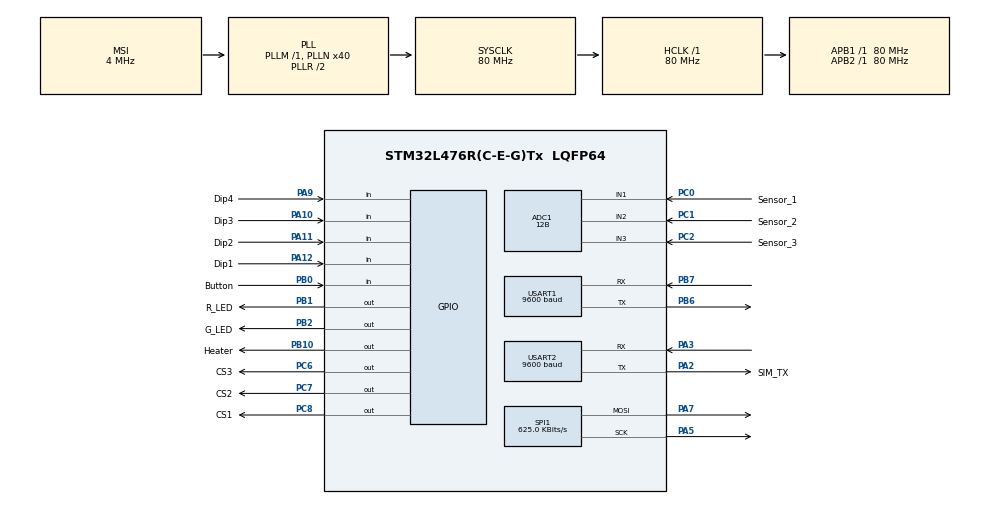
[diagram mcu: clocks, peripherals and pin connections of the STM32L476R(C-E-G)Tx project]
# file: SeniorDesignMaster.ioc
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Mcu.Family=STM32L4
RCC.CortexFreq_Value=80000000
SPI1.VirtualType=VM_MASTER
ADC1.Overrun=ADC_OVR_DATA_PRESERVED
ADC1.ContinuousConvMode=ENABLE
USART1.BaudRate=9600
SH.ADCx_IN2.0=ADC1_IN2,IN2-Single-Ended
PC0.GPIO_Label=Sensor_1
PC6.GPIO_Label=CS3
PB0.GPIO_Label=Button
RCC.SYSCLKSource=RCC_SYSCLKSOURCE_PLLCLK
ProjectManager.StackSize=0x400
PA12.Signal=GPIO_Input
SPI1.CLKPolarity=SPI_POLARITY_LOW
SPI1.Direction=SPI_DIRECTION_2LINES
RCC.HCLKFreq_Value=80000000
SH.ADCx_IN3.0=ADC1_IN3,IN3-Single-Ended
ADC1.Resolution=ADC_RESOLUTION_12B
RCC.APB2TimFreq_Value=80000000
PB6.Signal=USART1_TX
Dma.ADC1.0.Direction=DMA_PERIPH_TO_MEMORY
ADC1.Channel-2\#ChannelRegularConversion=ADC_CHANNEL_3
PC7.Signal=GPIO_Output
PB6.Mode=Asynchronous
SPI1.CalculateBaudRate=625.0 KBits/s
Dma.ADC1.0.MemDataAlignment=DMA_MDATAALIGN_WORD
RCC.AHBFreq_Value=80000000
ADC1.Channel-0\#ChannelRegularConversion=ADC_CHANNEL_1
RCC.HSE_VALUE=8000000
PB2.Signal=GPIO_Output
USART2.VirtualMode-Asynchronous=VM_ASYNC
ADC1.Rank-2\#ChannelRegularConversion=3
Dma.ADC1.0.PeriphInc=DMA_PINC_DISABLE
PB1.GPIO_Label=R_LED
SPI1.DataSize=SPI_DATASIZE_16BIT
PA10.GPIO_Label=Dip3
PB7.Signal=USART1_RX
SPI1.FirstBit=SPI_FIRSTBIT_MSB
ADC1.SamplingTime-0\#ChannelRegularConversion=ADC_SAMPLETIME_2CYCLES_5
Mcu.Package=LQFP64
PB1.Signal=GPIO_Output
PA2.GPIO_Label=SIM_TX
PA10.Signal=GPIO_Input
ADC1.OffsetNumber-1\#ChannelRegularConversion=ADC_OFFSET_NONE
SH.ADCx_IN1.0=ADC1_IN1,IN1-Single-Ended
RCC.APB1TimFreq_Value=80000000
Dma.Request0=ADC1
SPI1.BaudRatePrescaler=SPI_BAUDRATEPRESCALER_128
ADC1.EOCSelection=ADC_EOC_SINGLE_CONV
PC2.GPIO_Label=Sensor_3
RCC.PLLSAI1N=16
PA3.Signal=USART2_RX
PA5.Mode=TX_Only_Simplex_Unidirect_Master
RCC.MSI_VALUE=4000000
Dma.ADC1.0.Instance=DMA1_Channel1
ADC1.Rank-0\#ChannelRegularConversion=1
PA7.Mode=TX_Only_Simplex_Unidirect_Master
ADC1.OffsetNumber-0\#ChannelRegularConversion=ADC_OFFSET_NONE
PA9.GPIO_Label=Dip4
PC8.Signal=GPIO_Output
PC2.Signal=ADCx_IN3
PC6.Signal=GPIO_Output
PA11.GPIO_Label=Dip2
SPI1.CLKPhase=SPI_PHASE_1EDGE
PC0.Signal=ADCx_IN1
USART2.BaudRate=9600
PA12.GPIO_Label=Dip1
ADC1.SamplingTime-2\#ChannelRegularConversion=ADC_SAMPLETIME_2CYCLES_5
PC8.GPIO_Label=CS1
USART1.VirtualMode-Asynchronous=VM_ASYNC
PA3.Mode=Asynchronous
Dma.ADC1.0.PeriphDataAlignment=DMA_PDATAALIGN_WORD
ProjectManager.TargetToolchain=STM32CubeIDE
PB10.GPIO_Label=Heater
Dma.ADC1.0.Mode=DMA_CIRCULAR
Dma.ADC1.0.Priority=DMA_PRIORITY_MEDIUM
PA9.Signal=GPIO_Input
ADC1.Channel-1\#ChannelRegularConversion=ADC_CHANNEL_2
RCC.USBFreq_Value=32000000
RCC.LSE_VALUE=32768
PB10.Signal=GPIO_Output
PA5.Signal=SPI1_SCK
board=custom
RCC.VCOOutputFreq_Value=160000000
NVIC.SPI1_IRQn=true\:0\:0\:false\:false\:true\:true\:true
RCC.APB2Freq_Value=80000000
SPI1.Mode=SPI_MODE_MASTER
RCC.ADCFreq_Value=32000000
PC1.GPIO_Label=Sensor_2
ADC1.DMAContinuousRequests=ENABLE
ADC1.NbrOfConversion=3
ADC1.OffsetNumber-2\#ChannelRegularConversion=ADC_OFFSET_NONE
Mcu.Name=STM32L476R(C-E-G)Tx
SPI1.NSSPMode=SPI_NSS_PULSE_DISABLE
PA2.Signal=USART2_TX
PC7.GPIO_Label=CS2
ADC1.SamplingTime-1\#ChannelRegularConversion=ADC_SAMPLETIME_2CYCLES_5
RCC.SYSCLKFreq_VALUE=80000000
ADC1.master=1
ADC1.Rank-1\#ChannelRegularConversion=2
PB7.Mode=Asynchronous
PA11.Signal=GPIO_Input
Dma.ADC1.0.MemInc=DMA_MINC_ENABLE
PB2.GPIO_Label=G_LED
ProjectManager.HeapSize=0x200
RCC.HSI_VALUE=16000000
NVIC.PriorityGroup=NVIC_PRIORITYGROUP_4
ADC1.NbrOfConversionFlag=1
RCC.PLLN=40
PA2.Mode=Asynchronous
RCC.USART2CLockSelection=RCC_USART2CLKSOURCE_SYSCLK
NVIC.DMA1_Channel1_IRQn=true\:0\:0\:false\:false\:true\:false\:true
RCC.APB1Freq_Value=80000000
PB0.Signal=GPIO_Input
ADC1.ClockPrescaler=ADC_CLOCK_ASYNC_DIV2
PC1.Signal=ADCx_IN2
PA7.Signal=SPI1_MOSI

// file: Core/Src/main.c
/* USER CODE BEGIN Header */
/**
  ******************************************************************************
  * @file           : main.c
  * @brief          : Main program body
  ******************************************************************************
  * @attention
  *
  * <h2><center>&copy; Copyright (c) 2021 STMicroelectronics.
  * All rights reserved.</center></h2>
  *
  * This software component is licensed by ST under BSD 3-Clause license,
  * the "License"; You may not use this file except in compliance with the
  * License. You may obtain a copy of the License at:
  *                        opensource.org/licenses/BSD-3-Clause
  *
  ******************************************************************************
  */
/* USER CODE END Header */
#include "main.h"

/* USER CODE BEGIN Includes */

#include <string.h>
#include <stdio.h>
#include <stdbool.h> // I ADDED THINGS HERE !!!!!!!!
#include <stdlib.h>
#include <time.h>

/* USER CODE END Includes */

/* USER CODE BEGIN PD */
#define ADC_BUF_LEN 6
/* USER CODE END PD */

ADC_HandleTypeDef hadc1;
DMA_HandleTypeDef hdma_adc1;

SPI_HandleTypeDef hspi1;

UART_HandleTypeDef huart1;
UART_HandleTypeDef huart2;

void SystemClock_Config(void);
static void MX_GPIO_Init(void);
static void MX_DMA_Init(void);
static void MX_USART2_UART_Init(void);
static void MX_SPI1_Init(void);
static void MX_ADC1_Init(void);
static void MX_USART1_UART_Init(void);
/* USER CODE BEGIN PFP */
void displayResults(int ADC_number, int i, int val);
void digitalPotWrite(int value);
int targetCheck(int val, int target, int i);
void DMATransferComplete(DMA_HandleTypeDef *hdma);
void HAL_ADC_ConvCpltCallback(ADC_HandleTypeDef *hadc);
void HAL_ADC_ConvHalfCpltCallback(ADC_HandleTypeDef* hadc);

/* USER CODE END PFP */

/* USER CODE BEGIN 0 */
int adc_buf[ADC_BUF_LEN], adc[6];

void HAL_ADC_ConvCpltCallback(ADC_HandleTypeDef *hadc)
{
	for (int i = 0; i<6; i++)
		{
			adc[i] = adc_buf[i];
		}
}

/* USER CODE END 0 */

int main(void)
{
  /* USER CODE BEGIN 1 */
	char uart_buf[128] = {'\0'};	//buffer for output data
	int uart_buf_len = {'\0'};

  /* USER CODE END 1 */

  /* MCU Configuration--------------------------------------------------------*/

  /* Reset of all peripherals, Initializes the Flash interface and the Systick. */
  HAL_Init();

  /* USER CODE BEGIN Init */
	int target = 1024; //target analog bit value from the ADC
	uint8_t spiData[6];
	for(int j = 0; j < 6; j++){spiData[j] = 0x00;}
	int SPI_Transmit_Data_1;
	int SPI_Transmit_Data_2;
	int SPI_Transmit_Data_3;
	//char deviceID[20] = "Unit One";
	char readingType[20] = "Ambient";
	int readingNumber = 0;
	int deviceID_Number = 1;

	int output = 0;
	int power = 1;

	int dip[4];

	int warmtime = 0;

  //unsigned long lastMillis = 0; // I ADDED THINGS HERE !!!!!!!!
  //int long sensor1ValuesA[21]; // I ADDED THINGS HERE !!!!!!!!
  //int long sensor2ValuesA[21]; // I ADDED THINGS HERE !!!!!!!!
  //int long sensor3ValuesA[21]; // I ADDED THINGS HERE !!!!!!!!
  //int long sensor1ValuesB[21]; // I ADDED THINGS HERE !!!!!!!!
  //int long sensor2ValuesB[21]; // I ADDED THINGS HERE !!!!!!!!
  //int long sensor3ValuesB[21]; // I ADDED THINGS HERE !!!!!!!!

  //char *valuePayload; // I ADDED THINGS HERE !!!!!!!!
  //char str[80]; // how long does MQTT need to be?
  //time_t t;

  /* USER CODE END Init */

  /* Configure the system clock */
  SystemClock_Config();

  /* Initialize all configured peripherals */
  MX_GPIO_Init();
  MX_DMA_Init();
  MX_USART2_UART_Init();
  MX_SPI1_Init();
  MX_ADC1_Init();
  MX_USART1_UART_Init();
  /* USER CODE BEGIN 2 */
  HAL_GPIO_WritePin(GPIOC, GPIO_PIN_8, GPIO_PIN_SET);	//set CS1 pin HIGH.
  HAL_GPIO_WritePin(GPIOC, GPIO_PIN_7, GPIO_PIN_SET);	//set CS2 pin HIGH.
  HAL_GPIO_WritePin(GPIOC, GPIO_PIN_6, GPIO_PIN_SET);	//set CS3 pin HIGH.

  HAL_ADC_Start_DMA(&hadc1, (uint32_t*)adc_buf, ADC_BUF_LEN);
  /* USER CODE END 2 */

  /* Infinite loop */
  /* USER CODE BEGIN WHILE */

  while (1){

	  while(!HAL_GPIO_ReadPin(GPIOB, GPIO_PIN_0)){
		  //stuck here until button press
	  }
	  HAL_GPIO_WritePin(GPIOB, GPIO_PIN_10, GPIO_PIN_RESET); // mosfet pin low (stops current flow to heater pins)

	  output = 0;
	  power = 1;

	  dip[0] = HAL_GPIO_ReadPin(GPIOA, GPIO_PIN_12);
	  dip[1] = HAL_GPIO_ReadPin(GPIOA, GPIO_PIN_11);
	  dip[2] = HAL_GPIO_ReadPin(GPIOA, GPIO_PIN_10);
	  dip[3] = HAL_GPIO_ReadPin(GPIOA, GPIO_PIN_9);

		for (int i=0; i<=3; i++){
			output += dip[3-i]*power;
			power *= 2;
		}

	  warmtime = output*100;

	  //define sensor warming time
	  #define SENS_WARMING_TIME warmtime //anywhere from 0 to 16 minutes in 30 second intervals

	  uart_buf_len =sprintf(uart_buf, "Warm time set to: %d\n\r", warmtime);	  		//load print buffer with message
	  HAL_UART_Transmit(&huart1, (uint8_t *)uart_buf, uart_buf_len, 100);	//print to terminal

	  	//Fast blinking - Blinking red light 4 times per second for 3 seconds indicating begining of sensor warmup
		for (int i = 0; i < 12; i++) { // I ADDED THINGS HERE !!!!!!!!
		  HAL_GPIO_WritePin(GPIOB, GPIO_PIN_1, GPIO_PIN_SET); // I ADDED THINGS HERE !!!!!!!!
		  HAL_Delay(125); // I ADDED THINGS HERE !!!!!!!!
		  HAL_GPIO_WritePin(GPIOB, GPIO_PIN_1, GPIO_PIN_RESET); // I ADDED THINGS HERE !!!!!!!!
		  HAL_Delay(125); // I ADDED THINGS HERE !!!!!!!!
		}

		//code to power up sensors here
		HAL_GPIO_WritePin(GPIOB, GPIO_PIN_10, GPIO_PIN_SET); // I ADDED THINGS HERE !!!!!!!!

		//if (SENS_WARMING_TIME == 0) {
		//	SENS_WARMING_TIME = 60;
		//}

		//Fast blinking - Blinking red light 1 times per second for 5 minute/s indicating sensor warming up
		 for (int i = 0; i < SENS_WARMING_TIME; i++) {
			 HAL_GPIO_WritePin(GPIOB, GPIO_PIN_1, GPIO_PIN_SET); // I ADDED THINGS HERE !!!!!!!!
			 HAL_Delay(125); // I ADDED THINGS HERE !!!!!!!!
			 HAL_GPIO_WritePin(GPIOB, GPIO_PIN_1, GPIO_PIN_RESET); // I ADDED THINGS HERE !!!!!!!!
			 HAL_Delay(875); // I ADDED THINGS HERE !!!!!!!!
		 }

		 //Fast Blinking (four times a second) Yellow for 5 sec warnning begining of data collection via MQTT
		   for (int i = 0; i < 20; i++) {
			   HAL_GPIO_WritePin(GPIOB, GPIO_PIN_1, GPIO_PIN_SET); // I ADDED THINGS HERE !!!!!!!!
			   HAL_GPIO_WritePin(GPIOB, GPIO_PIN_2, GPIO_PIN_SET); // I ADDED THINGS HERE !!!!!!!!
			   HAL_Delay(125); // I ADDED THINGS HERE !!!!!!!!
			   HAL_GPIO_WritePin(GPIOB, GPIO_PIN_1, GPIO_PIN_RESET); // I ADDED THINGS HERE !!!!!!!!
			   HAL_GPIO_WritePin(GPIOB, GPIO_PIN_2, GPIO_PIN_RESET); // I ADDED THINGS HERE !!!!!!!!
			   HAL_Delay(125); // I ADDED THINGS HERE !!!!!!!!
		   }

	  for(int measurement = 0; measurement < 10; measurement++){

		  //------------------------------Read SPI Data------------------------------//

		  spiData[0] = targetCheck(adc[0], target, spiData[0]);
		  spiData[1] = targetCheck(adc[1], target, spiData[1]);
		  spiData[2] = targetCheck(adc[2], target, spiData[2]);
		  SPI_Transmit_Data_1 = 0x00 | spiData[0];
		  SPI_Transmit_Data_2 = 0x00 | spiData[1];
		  SPI_Transmit_Data_3 = 0x00 | spiData[2];

		  //------------------------------Transmit SPI Data to 3 Digital Potentiometers------------------------------//

		  HAL_GPIO_WritePin(GPIOC, GPIO_PIN_8, GPIO_PIN_RESET);				//set CS1 pin LOW.
		  HAL_SPI_Transmit(&hspi1, (uint8_t *)&SPI_Transmit_Data_1, 1, 10); //handle SPI, Cast data to a 16 bit unsigned integer, 1 bytes of data, 10 ms delay
		  while(HAL_SPI_GetState(&hspi1) != HAL_SPI_STATE_READY);
		  HAL_GPIO_WritePin(GPIOC, GPIO_PIN_8, GPIO_PIN_SET);				//set CS1 pin HIGH.
		  HAL_Delay(200);

		  HAL_GPIO_WritePin(GPIOC, GPIO_PIN_7, GPIO_PIN_RESET);				//set CS2 pin LOW.
		  HAL_SPI_Transmit(&hspi1, (uint8_t *)&SPI_Transmit_Data_2, 1, 10); //handle SPI, Cast data to a 16 bit unsigned integer, 1 bytes of data, 10 ms delay
		  while(HAL_SPI_GetState(&hspi1) != HAL_SPI_STATE_READY);
		  HAL_GPIO_WritePin(GPIOC, GPIO_PIN_7, GPIO_PIN_SET);				//set CS2 pin HIGH.

		  HAL_GPIO_WritePin(GPIOC, GPIO_PIN_6, GPIO_PIN_RESET);				//set CS3 pin LOW.
		  HAL_SPI_Transmit(&hspi1, (uint8_t *)&SPI_Transmit_Data_3, 1, 10); //handle SPI, Cast data to a 16 bit unsigned integer, 1 bytes of data, 10 ms delay
		  while(HAL_SPI_GetState(&hspi1) != HAL_SPI_STATE_READY);
		  HAL_GPIO_WritePin(GPIOC, GPIO_PIN_6, GPIO_PIN_SET);				//set CS3 pin HIGH.

		  //------------------------------Send USART Data to Particle Boron Board------------------------------//

		  uart_buf_len =sprintf(uart_buf, "Unit %d, %d, %d, %d, %s, %d\n", deviceID_Number, adc[0], adc[1], adc[2], readingType, readingNumber);	  		//load print buffer with message
		  HAL_UART_Transmit(&huart2, (uint8_t *)uart_buf, uart_buf_len, 100);	//print to terminal
		  readingNumber++;

		  //------------------------------Display Results to Terminal------------------------------//

		  uart_buf_len =sprintf(uart_buf, "Test #%d\r\n", measurement);	  		//load print buffer with message
		  HAL_UART_Transmit(&huart1, (uint8_t *)uart_buf, uart_buf_len, 100);	//print to terminal
		  //for(int i = 0; i < 3; i++){											//iterate through SPI array and print results to terminal
			//  displayResults(i+1, spiData[i], adc[i]);
		  //}
		  HAL_Delay(500);

	  }

	  //shows a red,yellow,green "get ready" sequence
	  HAL_GPIO_WritePin(GPIOB, GPIO_PIN_1, GPIO_PIN_SET); // I ADDED THINGS HERE !!!!!!!! Red LED on
	  HAL_Delay(1500);
	  HAL_GPIO_WritePin(GPIOB, GPIO_PIN_2, GPIO_PIN_SET); // I ADDED THINGS HERE !!!!!!!! Green LED on
	  HAL_Delay(1500);
	  HAL_GPIO_WritePin(GPIOB, GPIO_PIN_1, GPIO_PIN_RESET); // I ADDED THINGS HERE !!!!!!!! Red LED off
      //FOR USER: BREATHE INTO THE SENSOR

	  char readingType[20] = "Breath";
	  while(!HAL_GPIO_ReadPin(GPIOB, GPIO_PIN_0)){
	  		  //stuck here until button press
	  	  }
	  for(int measurement = 0; measurement < 10; measurement++){
		  uart_buf_len =sprintf(uart_buf, "Unit %d, %d, %d, %d, %s, %d\n", deviceID_Number, adc[0], adc[1], adc[2], readingType, readingNumber);	  		//load print buffer with message
		  HAL_UART_Transmit(&huart2, (uint8_t *)uart_buf, uart_buf_len, 100);	//print to terminal

		  uart_buf_len =sprintf(uart_buf, "Potentiometer 1 Value (0 - 128): %d \n\r", SPI_Transmit_Data_1);	  	//load print buffer with message
		  HAL_UART_Transmit(&huart1, (uint8_t *)uart_buf, uart_buf_len, 100);		//print to terminal
		  uart_buf_len =sprintf(uart_buf, "Potentiometer 2 Value (0 - 128): %d \n\r", SPI_Transmit_Data_2);	  	//load print buffer with message
		  HAL_UART_Transmit(&huart1, (uint8_t *)uart_buf, uart_buf_len, 100);		//print to terminal
		  uart_buf_len =sprintf(uart_buf, "Potentiometer 3 Value (0 - 128): %d \n\r", SPI_Transmit_Data_3);	  	//load print buffer with message
		  HAL_UART_Transmit(&huart1, (uint8_t *)uart_buf, uart_buf_len, 100);		//print to terminal

		  uart_buf_len =sprintf(uart_buf, "\n\rSent To Boron --> \"Unit %d, %d, %d, %d, %s, %d\"\r\n\n", deviceID_Number, adc[0], adc[1], adc[2], readingType, readingNumber);	  	//load print buffer with message
		  HAL_UART_Transmit(&huart1, (uint8_t *)uart_buf, uart_buf_len, 100);		//print to terminal
		  readingNumber++;
	  	  HAL_Delay(500);
	  }
	  readingNumber = 0;
	  deviceID_Number++;

	  HAL_GPIO_WritePin(GPIOB, GPIO_PIN_10, GPIO_PIN_RESET); // mosfet pin low (stops current flow to heater pins)
	  HAL_GPIO_WritePin(GPIOB, GPIO_PIN_2, GPIO_PIN_RESET); // Green LED off

	  HAL_Delay(500);
  }

    /* USER CODE END WHILE */

}

void SystemClock_Config(void)
{
  RCC_OscInitTypeDef RCC_OscInitStruct = {0};
  RCC_ClkInitTypeDef RCC_ClkInitStruct = {0};
  RCC_PeriphCLKInitTypeDef PeriphClkInit = {0};

  /** Initializes the RCC Oscillators according to the specified parameters
  * in the RCC_OscInitTypeDef structure.
  */
  RCC_OscInitStruct.OscillatorType = RCC_OSCILLATORTYPE_MSI;
  RCC_OscInitStruct.MSIState = RCC_MSI_ON;
  RCC_OscInitStruct.MSICalibrationValue = 0;
  RCC_OscInitStruct.MSIClockRange = RCC_MSIRANGE_6;
  RCC_OscInitStruct.PLL.PLLState = RCC_PLL_ON;
  RCC_OscInitStruct.PLL.PLLSource = RCC_PLLSOURCE_MSI;
  RCC_OscInitStruct.PLL.PLLM = 1;
  RCC_OscInitStruct.PLL.PLLN = 40;
  RCC_OscInitStruct.PLL.PLLP = RCC_PLLP_DIV7;
  RCC_OscInitStruct.PLL.PLLQ = RCC_PLLQ_DIV2;
  RCC_OscInitStruct.PLL.PLLR = RCC_PLLR_DIV2;
  if (HAL_RCC_OscConfig(&RCC_OscInitStruct) != HAL_OK)
  {
    Error_Handler();
  }
  /** Initializes the CPU, AHB and APB buses clocks
  */
  RCC_ClkInitStruct.ClockType = RCC_CLOCKTYPE_HCLK|RCC_CLOCKTYPE_SYSCLK
                              |RCC_CLOCKTYPE_PCLK1|RCC_CLOCKTYPE_PCLK2;
  RCC_ClkInitStruct.SYSCLKSource = RCC_SYSCLKSOURCE_PLLCLK;
  RCC_ClkInitStruct.AHBCLKDivider = RCC_SYSCLK_DIV1;
  RCC_ClkInitStruct.APB1CLKDivider = RCC_HCLK_DIV1;
  RCC_ClkInitStruct.APB2CLKDivider = RCC_HCLK_DIV1;

  if (HAL_RCC_ClockConfig(&RCC_ClkInitStruct, FLASH_LATENCY_4) != HAL_OK)
  {
    Error_Handler();
  }
  PeriphClkInit.PeriphClockSelection = RCC_PERIPHCLK_USART1|RCC_PERIPHCLK_USART2
                              |RCC_PERIPHCLK_ADC;
  PeriphClkInit.Usart1ClockSelection = RCC_USART1CLKSOURCE_PCLK2;
  PeriphClkInit.Usart2ClockSelection = RCC_USART2CLKSOURCE_SYSCLK;
  PeriphClkInit.AdcClockSelection = RCC_ADCCLKSOURCE_PLLSAI1;
  PeriphClkInit.PLLSAI1.PLLSAI1Source = RCC_PLLSOURCE_MSI;
  PeriphClkInit.PLLSAI1.PLLSAI1M = 1;
  PeriphClkInit.PLLSAI1.PLLSAI1N = 16;
  PeriphClkInit.PLLSAI1.PLLSAI1P = RCC_PLLP_DIV7;
  PeriphClkInit.PLLSAI1.PLLSAI1Q = RCC_PLLQ_DIV2;
  PeriphClkInit.PLLSAI1.PLLSAI1R = RCC_PLLR_DIV2;
  PeriphClkInit.PLLSAI1.PLLSAI1ClockOut = RCC_PLLSAI1_ADC1CLK;
  if (HAL_RCCEx_PeriphCLKConfig(&PeriphClkInit) != HAL_OK)
  {
    Error_Handler();
  }
  /** Configure the main internal regulator output voltage
  */
  if (HAL_PWREx_ControlVoltageScaling(PWR_REGULATOR_VOLTAGE_SCALE1) != HAL_OK)
  {
    Error_Handler();
  }
}

static void MX_ADC1_Init(void)
{

  ADC_MultiModeTypeDef multimode = {0};
  ADC_ChannelConfTypeDef sConfig = {0};

  /** Common config
  */
  hadc1.Instance = ADC1;
  hadc1.Init.ClockPrescaler = ADC_CLOCK_ASYNC_DIV2;
  hadc1.Init.Resolution = ADC_RESOLUTION_12B;
  hadc1.Init.DataAlign = ADC_DATAALIGN_RIGHT;
  hadc1.Init.ScanConvMode = ADC_SCAN_ENABLE;
  hadc1.Init.EOCSelection = ADC_EOC_SINGLE_CONV;
  hadc1.Init.LowPowerAutoWait = DISABLE;
  hadc1.Init.ContinuousConvMode = ENABLE;
  hadc1.Init.NbrOfConversion = 3;
  hadc1.Init.DiscontinuousConvMode = DISABLE;
  hadc1.Init.ExternalTrigConv = ADC_SOFTWARE_START;
  hadc1.Init.ExternalTrigConvEdge = ADC_EXTERNALTRIGCONVEDGE_NONE;
  hadc1.Init.DMAContinuousRequests = ENABLE;
  hadc1.Init.Overrun = ADC_OVR_DATA_PRESERVED;
  hadc1.Init.OversamplingMode = DISABLE;
  if (HAL_ADC_Init(&hadc1) != HAL_OK)
  {
    Error_Handler();
  }
  /** Configure the ADC multi-mode
  */
  multimode.Mode = ADC_MODE_INDEPENDENT;
  if (HAL_ADCEx_MultiModeConfigChannel(&hadc1, &multimode) != HAL_OK)
  {
    Error_Handler();
  }
  /** Configure Regular Channel
  */
  sConfig.Channel = ADC_CHANNEL_1;
  sConfig.Rank = ADC_REGULAR_RANK_1;
  sConfig.SamplingTime = ADC_SAMPLETIME_2CYCLES_5;
  sConfig.SingleDiff = ADC_SINGLE_ENDED;
  sConfig.OffsetNumber = ADC_OFFSET_NONE;
  sConfig.Offset = 0;
  if (HAL_ADC_ConfigChannel(&hadc1, &sConfig) != HAL_OK)
  {
    Error_Handler();
  }
  /** Configure Regular Channel
  */
  sConfig.Channel = ADC_CHANNEL_2;
  sConfig.Rank = ADC_REGULAR_RANK_2;
  if (HAL_ADC_ConfigChannel(&hadc1, &sConfig) != HAL_OK)
  {
    Error_Handler();
  }
  /** Configure Regular Channel
  */
  sConfig.Channel = ADC_CHANNEL_3;
  sConfig.Rank = ADC_REGULAR_RANK_3;
  if (HAL_ADC_ConfigChannel(&hadc1, &sConfig) != HAL_OK)
  {
    Error_Handler();
  }

}

static void MX_SPI1_Init(void)
{

  /* SPI1 parameter configuration*/
  hspi1.Instance = SPI1;
  hspi1.Init.Mode = SPI_MODE_MASTER;
  hspi1.Init.Direction = SPI_DIRECTION_2LINES;
  hspi1.Init.DataSize = SPI_DATASIZE_16BIT;
  hspi1.Init.CLKPolarity = SPI_POLARITY_LOW;
  hspi1.Init.CLKPhase = SPI_PHASE_1EDGE;
  hspi1.Init.NSS = SPI_NSS_SOFT;
  hspi1.Init.BaudRatePrescaler = SPI_BAUDRATEPRESCALER_128;
  hspi1.Init.FirstBit = SPI_FIRSTBIT_MSB;
  hspi1.Init.TIMode = SPI_TIMODE_DISABLE;
  hspi1.Init.CRCCalculation = SPI_CRCCALCULATION_DISABLE;
  hspi1.Init.CRCPolynomial = 7;
  hspi1.Init.CRCLength = SPI_CRC_LENGTH_DATASIZE;
  hspi1.Init.NSSPMode = SPI_NSS_PULSE_DISABLE;
  if (HAL_SPI_Init(&hspi1) != HAL_OK)
  {
    Error_Handler();
  }

}

static void MX_USART1_UART_Init(void)
{

  huart1.Instance = USART1;
  huart1.Init.BaudRate = 9600;
  huart1.Init.WordLength = UART_WORDLENGTH_8B;
  huart1.Init.StopBits = UART_STOPBITS_1;
  huart1.Init.Parity = UART_PARITY_NONE;
  huart1.Init.Mode = UART_MODE_TX_RX;
  huart1.Init.HwFlowCtl = UART_HWCONTROL_NONE;
  huart1.Init.OverSampling = UART_OVERSAMPLING_16;
  huart1.Init.OneBitSampling = UART_ONE_BIT_SAMPLE_DISABLE;
  huart1.AdvancedInit.AdvFeatureInit = UART_ADVFEATURE_NO_INIT;
  if (HAL_UART_Init(&huart1) != HAL_OK)
  {
    Error_Handler();
  }

}

static void MX_USART2_UART_Init(void)
{

  huart2.Instance = USART2;
  huart2.Init.BaudRate = 9600;
  huart2.Init.WordLength = UART_WORDLENGTH_8B;
  huart2.Init.StopBits = UART_STOPBITS_1;
  huart2.Init.Parity = UART_PARITY_NONE;
  huart2.Init.Mode = UART_MODE_TX_RX;
  huart2.Init.HwFlowCtl = UART_HWCONTROL_NONE;
  huart2.Init.OverSampling = UART_OVERSAMPLING_16;
  huart2.Init.OneBitSampling = UART_ONE_BIT_SAMPLE_DISABLE;
  huart2.AdvancedInit.AdvFeatureInit = UART_ADVFEATURE_NO_INIT;
  if (HAL_UART_Init(&huart2) != HAL_OK)
  {
    Error_Handler();
  }

}

static void MX_DMA_Init(void)
{

  /* DMA controller clock enable */
  __HAL_RCC_DMA1_CLK_ENABLE();

  /* DMA interrupt init */
  /* DMA1_Channel1_IRQn interrupt configuration */
  HAL_NVIC_SetPriority(DMA1_Channel1_IRQn, 0, 0);
  HAL_NVIC_EnableIRQ(DMA1_Channel1_IRQn);

}

static void MX_GPIO_Init(void)
{
  GPIO_InitTypeDef GPIO_InitStruct = {0};

  /* GPIO Ports Clock Enable */
  __HAL_RCC_GPIOC_CLK_ENABLE();
  __HAL_RCC_GPIOA_CLK_ENABLE();
  __HAL_RCC_GPIOB_CLK_ENABLE();

  /*Configure GPIO pin Output Level */
  HAL_GPIO_WritePin(GPIOB, R_LED_Pin|G_LED_Pin|Heater_Pin, GPIO_PIN_RESET);

  /*Configure GPIO pin Output Level */
  HAL_GPIO_WritePin(GPIOC, CS3_Pin|CS2_Pin|CS1_Pin, GPIO_PIN_RESET);

  /*Configure GPIO pin : Button_Pin */
  GPIO_InitStruct.Pin = Button_Pin;
  GPIO_InitStruct.Mode = GPIO_MODE_INPUT;
  GPIO_InitStruct.Pull = GPIO_NOPULL;
  HAL_GPIO_Init(Button_GPIO_Port, &GPIO_InitStruct);

  /*Configure GPIO pins : R_LED_Pin G_LED_Pin Heater_Pin */
  GPIO_InitStruct.Pin = R_LED_Pin|G_LED_Pin|Heater_Pin;
  GPIO_InitStruct.Mode = GPIO_MODE_OUTPUT_PP;
  GPIO_InitStruct.Pull = GPIO_NOPULL;
  GPIO_InitStruct.Speed = GPIO_SPEED_FREQ_LOW;
  HAL_GPIO_Init(GPIOB, &GPIO_InitStruct);

  /*Configure GPIO pins : CS3_Pin CS2_Pin CS1_Pin */
  GPIO_InitStruct.Pin = CS3_Pin|CS2_Pin|CS1_Pin;
  GPIO_InitStruct.Mode = GPIO_MODE_OUTPUT_PP;
  GPIO_InitStruct.Pull = GPIO_NOPULL;
  GPIO_InitStruct.Speed = GPIO_SPEED_FREQ_LOW;
  HAL_GPIO_Init(GPIOC, &GPIO_InitStruct);

  /*Configure GPIO pins : Dip4_Pin Dip3_Pin Dip2_Pin Dip1_Pin */
  GPIO_InitStruct.Pin = Dip4_Pin|Dip3_Pin|Dip2_Pin|Dip1_Pin;
  GPIO_InitStruct.Mode = GPIO_MODE_INPUT;
  GPIO_InitStruct.Pull = GPIO_NOPULL;
  HAL_GPIO_Init(GPIOA, &GPIO_InitStruct);

}

/* USER CODE BEGIN 4 */
void displayResults(int ADC_number, int i, int val){
  char uart_buf[512] = {'\0'};	//buffer for output data
  int uart_buf_len = {'\0'};
  float voltage = (3.3/4096) * val;
  float potValue = (10000/128) * i;

  uart_buf_len =sprintf(uart_buf, "\tADC: #%d\n \
		  	  	  	  	  	  	  \r\t\tPotentiometer Value (0 - 128): %d\n \
		  	  	  	  	  	  	  \r\t\tResistance: .................. %.0f Ohms\n \
		  	  	  	  	  	  	  \r\t\tADC Value (0 - 4096): ........ %d\n \
		  	  	  	  	  	  	  \r\t\tADC Voltage: ................. %.2fV\n\n\r", ADC_number, i, potValue, val, voltage);	  	//load print buffer with message
  HAL_UART_Transmit(&huart2, (uint8_t *)uart_buf, uart_buf_len, 100);		//print to terminal
}

int targetCheck(int val, int target, int i){
	//char uart_buf[50] = {'\0'};	//buffer for output data
	//int uart_buf_len = {'\0'};

	//uart_buf_len =sprintf(uart_buf, "\rpotentiometer bit value inside function = %d\r\n", i);	  	//load print buffer with message
	//HAL_UART_Transmit(&huart2, (uint8_t *)uart_buf, uart_buf_len, 100);		//print to terminal

	//check for distance val is from the target
	//if the analog value is greater than 50% of the target value, decrease 'i' by 50
		/*if (val > 1.50 * target)
			i = i - 50;
		//if the analog value is greater than 40% of the target value, decrease 'i' by 40
		else if (val > 1.40 * target)
			i = i - 40;
		//if the analog value is greater than 30% of the target value, decrease 'i' by 30
		else if (val > 1.30 * target)
			i = i - 30;
			*/
		//if the analog value is greater than 20% of the target value, decrease 'i' by 20
		if (val > 1.20 * target)
			i = i - 20;
		//if the analog value is greater than 10% of the target value, decrease 'i' by 10
		else if (val > 1.10 * target)
			i = i - 10;
		//if the analog value is greater than 20% of the target value, decrease 'i' by 5
		else if (val > 1.04 * target)
			i = i - 5;
		//if the analog value is greater than 20% of the target value, decrease 'i' by 1
		else if (val > target)
			i = i - 1;
		//--------------------------------------------------------------------------------------------------------------
		//if the analog value is greater than 20% of the target value, decrease 'i' by 50
		//else if (val < (1- 0.50) * target){
		//	i = i + 50;
		//}
		else if (val < (1- 0.40) * target){
			i = i + 40;
		}
		else if (val < (1- 0.30) * target){
					i = i + 30;
				}
		else if (val < (1- 0.20) * target){
					i = i + 20;
				}
		else if (val < (1- 0.10) * target){
					i = i + 10;
				}
		else if (val < (1- 0.04) * target){
					i = i + 5;
				}
		else if (val < target){
			i = i + 1;
		}
		else
			i = i;

	//dataString = createCSV(val,val,val,tNum);
	if(i > 128){
	  //uart_buf_len =sprintf(uart_buf, "Entered if Statement about 128\n");	  	//load print buffer with message
	  //HAL_UART_Transmit(&huart2, (uint8_t *)uart_buf, uart_buf_len, 100);		//print to terminal
	  i = 128;
	}
	if(i < 0){
	  //uart_buf_len =sprintf(uart_buf, "Entered if Statement below 0\n");	  	//load print buffer with message
	  //HAL_UART_Transmit(&huart2, (uint8_t *)uart_buf, uart_buf_len, 100);		//print to terminal
	  i = 0;
	}
	//uart_buf_len =sprintf(uart_buf, "\rpot value being returned after algorithm = %d\r\n", i);	  	//load print buffer with message
	//HAL_UART_Transmit(&huart2, (uint8_t *)uart_buf, uart_buf_len, 100);		//print to terminal
	return i;
}

void digitalPotWrite(int value){
	//char uart_buf[50] = {'\0'};	//buffer for output data
	//int uart_buf_len = {'\0'};

	//uart_buf_len =sprintf(uart_buf, "\rWriting %d to the ADC\r\n\n", value);	  	//load print buffer with message
	//HAL_UART_Transmit(&huart2, (uint8_t *)uart_buf, uart_buf_len, 100);				//print to terminal

	//HAL_GPIO_WritePin(GPIOC, GPIO_PIN_8, GPIO_PIN_RESET);	//set CS1 pin LOW.
	//HAL_SPI_Transmit(&hspi1, (uint8_t *)&value, 1, 400); //handle SPI, Cast data to a 16 bit unsigned integer, 2 bytes of data, 400 ms delay
	//HAL_Delay(100);
	//HAL_GPIO_WritePin(GPIOC, GPIO_PIN_8, GPIO_PIN_SET);	//set CS1 pin HIGH.
	//HAL_Delay(100);
	}

void HAL_ADC_ConvHalfCpltCallback(ADC_HandleTypeDef* hadc){
	/*char uart_buf[50] = {'\0'};	//buffer for output data
	int uart_buf_len = {'\0'};
	uart_buf_len =sprintf(uart_buf, "\rFirt ADC Handle\r\n\n");	  	//load print buffer with message
	HAL_UART_Transmit(&huart2, (uint8_t *)uart_buf, uart_buf_len, 100);*/
}

/*void HAL_ADC_ConvCpltCallback(ADC_HandleTypeDef* hadc){
	char uart_buf[50] = {'\0'};	//buffer for output data
	int uart_buf_len = {'\0'};
	uart_buf_len =sprintf(uart_buf, "\rSecond ADC Handle\r\n\n");	  	//load print buffer with message
	HAL_UART_Transmit(&huart2, (uint8_t *)uart_buf, uart_buf_len, 100);
}*/
/* USER CODE END 4 */

void Error_Handler(void)
{
  /* USER CODE BEGIN Error_Handler_Debug */
	  /* User can add his own implementation to report the HAL error return state */
	  __disable_irq();
	  while (1){
	  }
  /* USER CODE BEGIN Error_Handler_Debug */
  /* User can add his own implementation to report the HAL error return state */

  /* USER CODE END Error_Handler_Debug */
}

/************************ (C) COPYRIGHT STMicroelectronics *****END OF FILE****/
